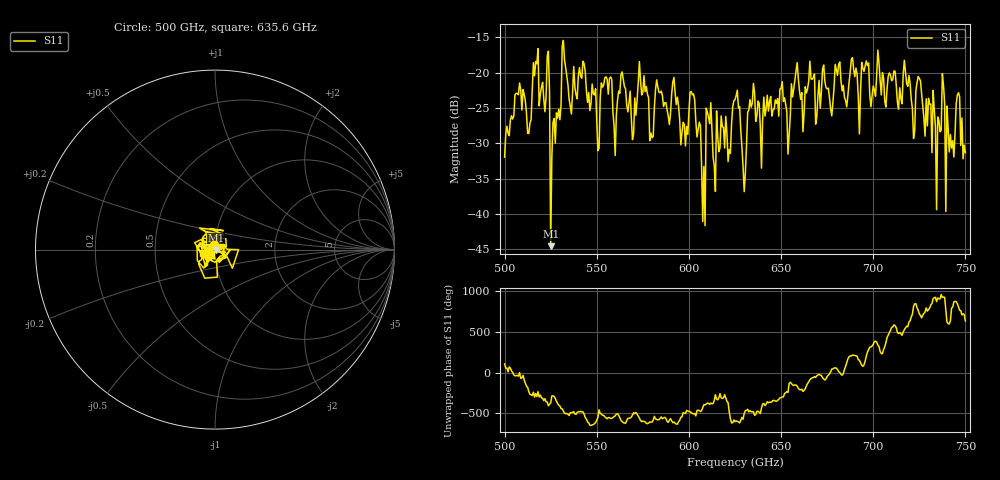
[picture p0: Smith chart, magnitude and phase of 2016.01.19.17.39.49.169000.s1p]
!Created with skrf (http://scikit-rf.org).
# GHz S RI R 50.0
!freq ReS11 ImS11
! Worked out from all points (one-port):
!   401 points, 500 GHz to 750 GHz, reference 50 ohm
!   lowest |S11| = -44.5 dB at 525 GHz (marker M1), VSWR 1.01, Z = 50.6 - j0.132 ohm
!   |S11| at or under -10 dB: start of sweep to end of sweep
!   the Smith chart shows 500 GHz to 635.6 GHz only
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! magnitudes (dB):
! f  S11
! 500 GHz  -31.9
! 506.9 GHz  -22.9
! 513.1 GHz  -28.6
! 516.9 GHz  -18.4
! 523.1 GHz  -17.6
! 525 GHz  -44.5
! 526.2 GHz  -27.0
! 531.2 GHz  -16.3
! 550.6 GHz  -31.0
! 562.5 GHz  -22.9
! 570 GHz  -28.6
! 574.4 GHz  -23.1
! 580 GHz  -29.2
! 583.1 GHz  -22.0
! 593.8 GHz  -23.5
! 601.9 GHz  -23.1
! 607.5 GHz  -41.0
! 610.6 GHz  -26.3
! 614.4 GHz  -36.8
! 625 GHz  -23.8
! 630 GHz  -36.8
! 634.4 GHz  -24.3
! 656.2 GHz  -23.4
! 687.5 GHz  -19.9
! 718.8 GHz  -21.9
! 735.6 GHz  -26.8
! 745.6 GHz  -23.2
! 750 GHz  -31.3
